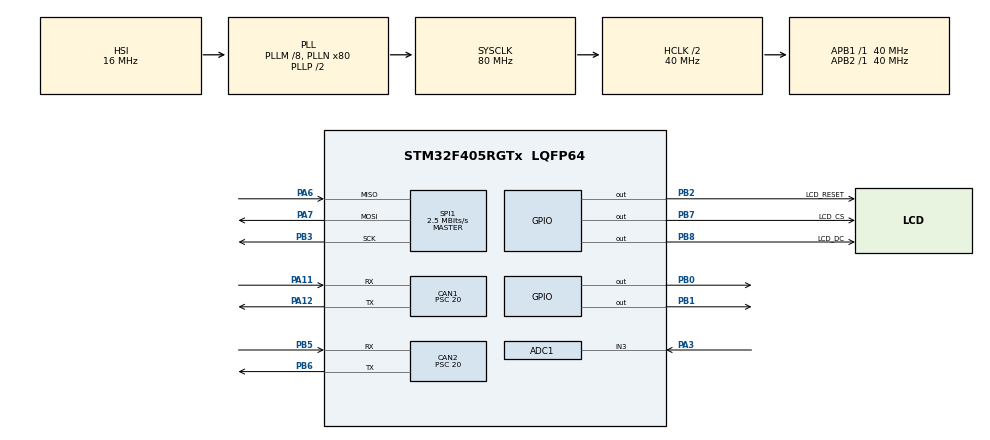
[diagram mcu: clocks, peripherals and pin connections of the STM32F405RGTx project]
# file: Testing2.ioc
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ADC1.Channel-0\#ChannelRegularConversion=ADC_CHANNEL_3
ADC1.ContinuousConvMode=DISABLE
ADC1.NbrOfConversionFlag=1
ADC1.Rank-0\#ChannelRegularConversion=1
ADC1.SamplingTime-0\#ChannelRegularConversion=ADC_SAMPLETIME_3CYCLES
ADC1.master=1
CAN1.BS1=CAN_BS1_2TQ
CAN1.CalculateBaudRate=500000
CAN1.CalculateTimeBit=2000
CAN1.CalculateTimeQuantum=500.0
CAN1.Prescaler=20
CAN2.BS1=CAN_BS1_2TQ
CAN2.CalculateBaudRate=500000
CAN2.CalculateTimeBit=2000
CAN2.CalculateTimeQuantum=500.0
CAN2.Prescaler=20
Mcu.Family=STM32F4
Mcu.Name=STM32F405RGTx
Mcu.Package=LQFP64
NVIC.CAN1_RX0_IRQn=true\:0\:0\:false\:false\:true\:true\:true\:true
NVIC.CAN2_RX1_IRQn=true\:0\:0\:false\:false\:true\:true\:true\:true
NVIC.PriorityGroup=NVIC_PRIORITYGROUP_4
NVIC.TIM2_IRQn=true\:0\:0\:false\:false\:true\:true\:true\:true
PA11.Mode=CAN_Activate
PA11.Signal=CAN1_RX
PA12.Mode=CAN_Activate
PA12.Signal=CAN1_TX
PA13.Mode=Serial_Wire
PA13.Signal=SYS_JTMS-SWDIO
PA14.Mode=Serial_Wire
PA14.Signal=SYS_JTCK-SWCLK
PA3.Signal=ADCx_IN3
PA6.Mode=Full_Duplex_Master
PA6.Signal=SPI1_MISO
PA7.Mode=Full_Duplex_Master
PA7.Signal=SPI1_MOSI
PB0.Signal=GPIO_Output
PB1.Signal=GPIO_Output
PB2.GPIO_Label=LCD_RESET
PB2.Signal=GPIO_Output
PB3.Mode=Full_Duplex_Master
PB3.Signal=SPI1_SCK
PB5.Mode=CAN_Activate
PB5.Signal=CAN2_RX
PB6.Mode=CAN_Activate
PB6.Signal=CAN2_TX
PB7.GPIO_Label=LCD_CS
PB7.Signal=GPIO_Output
PB8.GPIO_Label=LCD_DC
PB8.Signal=GPIO_Output
PH0-OSC_IN.Mode=HSE-External-Oscillator
PH0-OSC_IN.Signal=RCC_OSC_IN
PH1-OSC_OUT.Mode=HSE-External-Oscillator
PH1-OSC_OUT.Signal=RCC_OSC_OUT
ProjectManager.HeapSize=0x200
ProjectManager.StackSize=0x400
ProjectManager.TargetToolchain=STM32CubeIDE
RCC.48MHZClocksFreq_Value=40000000
RCC.AHBCLKDivider=RCC_SYSCLK_DIV2
RCC.AHBFreq_Value=40000000
RCC.APB1Freq_Value=40000000
RCC.APB1TimFreq_Value=40000000
RCC.APB2Freq_Value=40000000
RCC.APB2TimFreq_Value=40000000
RCC.CortexFreq_Value=40000000
RCC.HCLKFreq_Value=40000000
RCC.HSE_VALUE=25000000
RCC.HSI_VALUE=16000000
RCC.LSE_VALUE=32768
RCC.PLLM=8
RCC.PLLN=80
RCC.SYSCLKFreq_VALUE=80000000
RCC.SYSCLKSource=RCC_SYSCLKSOURCE_PLLCLK
RCC.VCOOutputFreq_Value=160000000
SH.ADCx_IN3.0=ADC1_IN3,IN3
SPI1.BaudRatePrescaler=SPI_BAUDRATEPRESCALER_16
SPI1.CalculateBaudRate=2.5 MBits/s
SPI1.Direction=SPI_DIRECTION_2LINES
SPI1.Mode=SPI_MODE_MASTER
SPI1.VirtualType=VM_MASTER
TIM2.Period=7
TIM2.Prescaler=57142
VP_TIM2_VS_ClockSourceINT.Mode=Internal
board=custom

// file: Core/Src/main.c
/* USER CODE BEGIN Header */
/**
  ******************************************************************************
  * @file           : main.c
  * @brief          : Main program body
  ******************************************************************************
  * @attention
  *
  * Copyright (c) 2023 STMicroelectronics.
  * All rights reserved.
  *
  * This software is licensed under terms that can be found in the LICENSE file
  * in the root directory of this software component.
  * If no LICENSE file comes with this software, it is provided AS-IS.
  *
  ******************************************************************************
  */
/* USER CODE END Header */
#include "main.h"

/* USER CODE BEGIN Includes */
#include <string.h>
#include <stdio.h>
#include "timer.h"
#include "st7789.h"
#include "LCD_display.h"
/* USER CODE END Includes */

/* USER CODE BEGIN PD */
#define SERVICE_ID 0x22
#define DATA1_ID 0xF001
//#define DATA2_ID 0xF002
/* USER CODE END PD */

ADC_HandleTypeDef hadc1;

CAN_HandleTypeDef hcan1;
CAN_HandleTypeDef hcan2;

SPI_HandleTypeDef hspi1;

TIM_HandleTypeDef htim2;

/* USER CODE BEGIN PV */
CAN_RxHeaderTypeDef rx1Header; //CAN1 Bus Transmit Header
CAN_TxHeaderTypeDef tx1Header; //CAN1 Bus Receive Header

CAN_RxHeaderTypeDef rx2Header; //CAN2 Bus Transmit Header
CAN_TxHeaderTypeDef tx2Header; //CAN2 Bus Receive Header

CAN_FilterTypeDef canfil1; //CAN Bus Filter
CAN_FilterTypeDef canfil2; //CAN Bus Filter
uint32_t canMailbox; //CAN Bus Mail box variable

uint8_t Tx1Data[8];
uint8_t Tx2Data[8];

uint8_t Rx1Data[8];
uint8_t Rx2Data[8];

uint32_t ADC_value;
/* USER CODE END PV */

void SystemClock_Config(void);
static void MX_GPIO_Init(void);
static void MX_CAN1_Init(void);
static void MX_CAN2_Init(void);
static void MX_TIM2_Init(void);
static void MX_SPI1_Init(void);
static void MX_ADC1_Init(void);
/* USER CODE BEGIN PFP */
void CAN1_filter_init(){
	canfil1.FilterBank = 10;
	canfil1.FilterMode = CAN_FILTERMODE_IDMASK;
	canfil1.FilterFIFOAssignment = CAN_RX_FIFO0;
	canfil1.FilterIdHigh = 0x7A2 << 5;
	canfil1.FilterIdLow = 0;
	canfil1.FilterMaskIdHigh = 0x7A2 << 5;
	canfil1.FilterMaskIdLow = 0;
	canfil1.FilterScale = CAN_FILTERSCALE_32BIT;
	canfil1.FilterActivation = ENABLE;
	canfil1.SlaveStartFilterBank = 14;
}

void CAN2_filter_init(){
	canfil2.FilterBank = 20;
	canfil2.FilterMode = CAN_FILTERMODE_IDMASK;
	canfil2.FilterFIFOAssignment = CAN_RX_FIFO1;
	canfil2.FilterIdHigh = 0x712 << 5;
	canfil2.FilterIdLow = 0;
	canfil2.FilterMaskIdHigh = 0x712 << 5;
	canfil2.FilterMaskIdLow = 0;
	canfil2.FilterScale = CAN_FILTERSCALE_32BIT;
	canfil2.FilterActivation = ENABLE;
	canfil2.SlaveStartFilterBank = 14;
}

void Tx1_message_define(){
	tx1Header.DLC = 8;
	tx1Header.IDE = CAN_ID_STD;
	tx1Header.RTR = CAN_RTR_DATA;
	tx1Header.StdId = 0x712;
	tx1Header.ExtId = 0x02;
	tx1Header.TransmitGlobalTime = DISABLE;
}

void Tx2_message_define(){
	tx2Header.DLC = 8;
	tx2Header.IDE = CAN_ID_STD;
	tx2Header.RTR = CAN_RTR_DATA;
	tx2Header.StdId = 0x7A2;
	tx2Header.ExtId = 0x02;
	tx2Header.TransmitGlobalTime = DISABLE;
}

//Practice 1 data
#ifdef DATA1_ID

	void Tx1_data(){
		Tx1Data[0] = SERVICE_ID;
		Tx1Data[1] = (DATA1_ID >> 16) & 0xFF;
		Tx1Data[2] = (DATA1_ID >> 8) & 0xFF;
		Tx1Data[3] = DATA1_ID & 0xFF;
	}
#elif DATA2_ID
	void Tx1_data(){
		Tx1Data[0] = SERVICE_ID;
		Tx1Data[1] = (DATA1_ID >> 16) & 0xFF;
		Tx1Data[2] = (DATA1_ID >> 8) & 0xFF;
		Tx1Data[3] = DATA1_ID & 0xFF;
	}
#endif

/* USER CODE END PFP */

int main(void)
{

  /* MCU Configuration--------------------------------------------------------*/

  /* Reset of all peripherals, Initializes the Flash interface and the Systick. */
  HAL_Init();

  /* Configure the system clock */
  SystemClock_Config();

  /* Initialize all configured peripherals */
  MX_GPIO_Init();
  MX_CAN1_Init();
  MX_CAN2_Init();
  MX_TIM2_Init();
  MX_SPI1_Init();
  MX_ADC1_Init();
  /* USER CODE BEGIN 2 */
  CAN1_filter_init();
  CAN2_filter_init();

  Tx1_message_define();
  Tx2_message_define();

  //Tx2_data();
  Tx1_data();

  HAL_TIM_Base_Start_IT(&htim2);

  HAL_CAN_Start(&hcan1);
  HAL_CAN_Start(&hcan2);
  HAL_CAN_ConfigFilter(&hcan1,&canfil1);
  HAL_CAN_ConfigFilter(&hcan2,&canfil2);

  HAL_CAN_ActivateNotification(&hcan1,CAN_IT_RX_FIFO0_MSG_PENDING);
  HAL_CAN_ActivateNotification(&hcan2,CAN_IT_RX_FIFO1_MSG_PENDING);

  lcd_init();
  ST7789_Init();

//  ST7789_WriteString(0, 0, "..............................................", Font_7x10, RED, WHITE);
  	HAL_ADC_Start(&hadc1);
  	HAL_ADC_PollForConversion(&hadc1, 100);
  	ADC_value = HAL_ADC_GetValue(&hadc1);
  	setTimer1(10);
  /* USER CODE END 2 */

  /* Infinite loop */
  /* USER CODE BEGIN WHILE */
  while (1)
  {
	  if(timer1_flag){
		  if(HAL_CAN_AddTxMessage(&hcan2,&tx2Header,Tx2Data,&canMailbox) == HAL_OK){
			  HAL_GPIO_WritePin(GPIOB, GPIO_PIN_1, 1);
		  }
		  setTimer1(100);
	  }
  }

    /* USER CODE END WHILE */

}

void SystemClock_Config(void)
{
  RCC_OscInitTypeDef RCC_OscInitStruct = {0};
  RCC_ClkInitTypeDef RCC_ClkInitStruct = {0};

  /** Configure the main internal regulator output voltage
  */
  __HAL_RCC_PWR_CLK_ENABLE();
  __HAL_PWR_VOLTAGESCALING_CONFIG(PWR_REGULATOR_VOLTAGE_SCALE1);

  /** Initializes the RCC Oscillators according to the specified parameters
  * in the RCC_OscInitTypeDef structure.
  */
  RCC_OscInitStruct.OscillatorType = RCC_OSCILLATORTYPE_HSI;
  RCC_OscInitStruct.HSIState = RCC_HSI_ON;
  RCC_OscInitStruct.HSICalibrationValue = RCC_HSICALIBRATION_DEFAULT;
  RCC_OscInitStruct.PLL.PLLState = RCC_PLL_ON;
  RCC_OscInitStruct.PLL.PLLSource = RCC_PLLSOURCE_HSI;
  RCC_OscInitStruct.PLL.PLLM = 8;
  RCC_OscInitStruct.PLL.PLLN = 80;
  RCC_OscInitStruct.PLL.PLLP = RCC_PLLP_DIV2;
  RCC_OscInitStruct.PLL.PLLQ = 4;
  if (HAL_RCC_OscConfig(&RCC_OscInitStruct) != HAL_OK)
  {
    Error_Handler();
  }

  /** Initializes the CPU, AHB and APB buses clocks
  */
  RCC_ClkInitStruct.ClockType = RCC_CLOCKTYPE_HCLK|RCC_CLOCKTYPE_SYSCLK
                              |RCC_CLOCKTYPE_PCLK1|RCC_CLOCKTYPE_PCLK2;
  RCC_ClkInitStruct.SYSCLKSource = RCC_SYSCLKSOURCE_PLLCLK;
  RCC_ClkInitStruct.AHBCLKDivider = RCC_SYSCLK_DIV2;
  RCC_ClkInitStruct.APB1CLKDivider = RCC_HCLK_DIV1;
  RCC_ClkInitStruct.APB2CLKDivider = RCC_HCLK_DIV1;

  if (HAL_RCC_ClockConfig(&RCC_ClkInitStruct, FLASH_LATENCY_1) != HAL_OK)
  {
    Error_Handler();
  }
}

static void MX_ADC1_Init(void)
{

  ADC_ChannelConfTypeDef sConfig = {0};

  /** Configure the global features of the ADC (Clock, Resolution, Data Alignment and number of conversion)
  */
  hadc1.Instance = ADC1;
  hadc1.Init.ClockPrescaler = ADC_CLOCK_SYNC_PCLK_DIV2;
  hadc1.Init.Resolution = ADC_RESOLUTION_12B;
  hadc1.Init.ScanConvMode = DISABLE;
  hadc1.Init.ContinuousConvMode = DISABLE;
  hadc1.Init.DiscontinuousConvMode = DISABLE;
  hadc1.Init.ExternalTrigConvEdge = ADC_EXTERNALTRIGCONVEDGE_NONE;
  hadc1.Init.ExternalTrigConv = ADC_SOFTWARE_START;
  hadc1.Init.DataAlign = ADC_DATAALIGN_RIGHT;
  hadc1.Init.NbrOfConversion = 1;
  hadc1.Init.DMAContinuousRequests = DISABLE;
  hadc1.Init.EOCSelection = ADC_EOC_SINGLE_CONV;
  if (HAL_ADC_Init(&hadc1) != HAL_OK)
  {
    Error_Handler();
  }

  /** Configure for the selected ADC regular channel its corresponding rank in the sequencer and its sample time.
  */
  sConfig.Channel = ADC_CHANNEL_3;
  sConfig.Rank = 1;
  sConfig.SamplingTime = ADC_SAMPLETIME_3CYCLES;
  if (HAL_ADC_ConfigChannel(&hadc1, &sConfig) != HAL_OK)
  {
    Error_Handler();
  }

}

static void MX_CAN1_Init(void)
{

  hcan1.Instance = CAN1;
  hcan1.Init.Prescaler = 20;
  hcan1.Init.Mode = CAN_MODE_NORMAL;
  hcan1.Init.SyncJumpWidth = CAN_SJW_1TQ;
  hcan1.Init.TimeSeg1 = CAN_BS1_2TQ;
  hcan1.Init.TimeSeg2 = CAN_BS2_1TQ;
  hcan1.Init.TimeTriggeredMode = DISABLE;
  hcan1.Init.AutoBusOff = DISABLE;
  hcan1.Init.AutoWakeUp = DISABLE;
  hcan1.Init.AutoRetransmission = DISABLE;
  hcan1.Init.ReceiveFifoLocked = DISABLE;
  hcan1.Init.TransmitFifoPriority = DISABLE;
  if (HAL_CAN_Init(&hcan1) != HAL_OK)
  {
    Error_Handler();
  }

}

static void MX_CAN2_Init(void)
{

  hcan2.Instance = CAN2;
  hcan2.Init.Prescaler = 20;
  hcan2.Init.Mode = CAN_MODE_NORMAL;
  hcan2.Init.SyncJumpWidth = CAN_SJW_1TQ;
  hcan2.Init.TimeSeg1 = CAN_BS1_2TQ;
  hcan2.Init.TimeSeg2 = CAN_BS2_1TQ;
  hcan2.Init.TimeTriggeredMode = DISABLE;
  hcan2.Init.AutoBusOff = DISABLE;
  hcan2.Init.AutoWakeUp = DISABLE;
  hcan2.Init.AutoRetransmission = DISABLE;
  hcan2.Init.ReceiveFifoLocked = DISABLE;
  hcan2.Init.TransmitFifoPriority = DISABLE;
  if (HAL_CAN_Init(&hcan2) != HAL_OK)
  {
    Error_Handler();
  }

}

static void MX_SPI1_Init(void)
{

  /* SPI1 parameter configuration*/
  hspi1.Instance = SPI1;
  hspi1.Init.Mode = SPI_MODE_MASTER;
  hspi1.Init.Direction = SPI_DIRECTION_2LINES;
  hspi1.Init.DataSize = SPI_DATASIZE_8BIT;
  hspi1.Init.CLKPolarity = SPI_POLARITY_LOW;
  hspi1.Init.CLKPhase = SPI_PHASE_1EDGE;
  hspi1.Init.NSS = SPI_NSS_SOFT;
  hspi1.Init.BaudRatePrescaler = SPI_BAUDRATEPRESCALER_16;
  hspi1.Init.FirstBit = SPI_FIRSTBIT_MSB;
  hspi1.Init.TIMode = SPI_TIMODE_DISABLE;
  hspi1.Init.CRCCalculation = SPI_CRCCALCULATION_DISABLE;
  hspi1.Init.CRCPolynomial = 10;
  if (HAL_SPI_Init(&hspi1) != HAL_OK)
  {
    Error_Handler();
  }

}

static void MX_TIM2_Init(void)
{

  TIM_ClockConfigTypeDef sClockSourceConfig = {0};
  TIM_MasterConfigTypeDef sMasterConfig = {0};

  htim2.Instance = TIM2;
  htim2.Init.Prescaler = 57142;
  htim2.Init.CounterMode = TIM_COUNTERMODE_UP;
  htim2.Init.Period = 7;
  htim2.Init.ClockDivision = TIM_CLOCKDIVISION_DIV1;
  htim2.Init.AutoReloadPreload = TIM_AUTORELOAD_PRELOAD_DISABLE;
  if (HAL_TIM_Base_Init(&htim2) != HAL_OK)
  {
    Error_Handler();
  }
  sClockSourceConfig.ClockSource = TIM_CLOCKSOURCE_INTERNAL;
  if (HAL_TIM_ConfigClockSource(&htim2, &sClockSourceConfig) != HAL_OK)
  {
    Error_Handler();
  }
  sMasterConfig.MasterOutputTrigger = TIM_TRGO_RESET;
  sMasterConfig.MasterSlaveMode = TIM_MASTERSLAVEMODE_DISABLE;
  if (HAL_TIMEx_MasterConfigSynchronization(&htim2, &sMasterConfig) != HAL_OK)
  {
    Error_Handler();
  }

}

static void MX_GPIO_Init(void)
{
  GPIO_InitTypeDef GPIO_InitStruct = {0};

  /* GPIO Ports Clock Enable */
  __HAL_RCC_GPIOH_CLK_ENABLE();
  __HAL_RCC_GPIOA_CLK_ENABLE();
  __HAL_RCC_GPIOB_CLK_ENABLE();

  /*Configure GPIO pin Output Level */
  HAL_GPIO_WritePin(GPIOB, GPIO_PIN_0|GPIO_PIN_1|LCD_RESET_Pin|LCD_CS_Pin
                          |LCD_DC_Pin, GPIO_PIN_RESET);

  /*Configure GPIO pins : PB0 PB1 LCD_RESET_Pin LCD_CS_Pin
                           LCD_DC_Pin */
  GPIO_InitStruct.Pin = GPIO_PIN_0|GPIO_PIN_1|LCD_RESET_Pin|LCD_CS_Pin
                          |LCD_DC_Pin;
  GPIO_InitStruct.Mode = GPIO_MODE_OUTPUT_PP;
  GPIO_InitStruct.Pull = GPIO_NOPULL;
  GPIO_InitStruct.Speed = GPIO_SPEED_FREQ_LOW;
  HAL_GPIO_Init(GPIOB, &GPIO_InitStruct);

}

/* USER CODE BEGIN 4 */
uint8_t Buffer[20];
uint8_t Buffer1[20];
uint8_t Buffer2[20];
uint8_t Buffer3[20];
uint8_t Buffer4[20];
uint8_t Buffer5[20];
uint8_t Buffer6[20];
uint8_t Buffer7[20];
uint8_t Buffer8[20];
uint8_t Buffer9[20];
uint8_t Buffer10[20];
uint8_t Buffer11[20];
uint8_t Buffer12[20];
uint8_t Buffer13[20];

void HAL_TIM_PeriodElapsedCallback(TIM_HandleTypeDef *htim){
	timerRun();
	//getKeyInput();
}

void HAL_CAN_RxFifo0MsgPendingCallback(CAN_HandleTypeDef *hcan)
{
	if(HAL_CAN_GetRxMessage(&hcan1, CAN_RX_FIFO0, &rx1Header, Rx1Data) == HAL_OK){
		if(rx1Header.DLC == 8){
			sprintf(&Buffer[0], "IDCAN2:0x%03x", rx1Header.StdId);
			sprintf(&Buffer1[0], "Data0:0x%02x", Rx1Data[0]);
			sprintf(&Buffer2[0], "Data1:0x%02x", Rx1Data[1]);
			sprintf(&Buffer8[0], "Data2:0x%02x", Rx1Data[2]);
			sprintf(&Buffer9[0], "Data3:0x%02x", Rx1Data[3]);
			sprintf(&Buffer10[0], "Data4:0x%02x", Rx1Data[4]);
			sprintf(&Buffer11[0], "Data5:0x%02x", Rx1Data[5]);
			sprintf(&Buffer12[0], "Data6:0x%02x", Rx1Data[6]);
			sprintf(&Buffer13[0], "Data7:0x%02x", Rx1Data[7]);

			ST7789_WriteString(0, 0,&Buffer[0], Font_7x10, RED, WHITE);
			ST7789_WriteString(0, 11, &Buffer1[0], Font_7x10, RED, WHITE);
			ST7789_WriteString(0, 22, &Buffer2[0], Font_7x10, RED, WHITE);
			ST7789_WriteString(0, 33, &Buffer8[0], Font_7x10, RED, WHITE);
			ST7789_WriteString(0, 44, &Buffer9[0], Font_7x10, RED, WHITE);
			ST7789_WriteString(0, 55, &Buffer10[0], Font_7x10, RED, WHITE);
			ST7789_WriteString(0, 66, &Buffer11[0], Font_7x10, RED, WHITE);
			ST7789_WriteString(0, 77, &Buffer12[0], Font_7x10, RED, WHITE);
			ST7789_WriteString(0, 88, &Buffer13[0], Font_7x10, RED, WHITE);
			if(HAL_CAN_AddTxMessage(&hcan1,&tx1Header,Tx1Data,&canMailbox) == HAL_OK){
				HAL_GPIO_WritePin(GPIOB, GPIO_PIN_0, 1);
			}
		}
	}

}

void HAL_CAN_RxFifo1MsgPendingCallback(CAN_HandleTypeDef *hcan)
{
	if(HAL_CAN_GetRxMessage(&hcan2, CAN_RX_FIFO1, &rx2Header, Rx2Data) == HAL_OK){
		if(rx2Header.DLC == 8){
			sprintf(&Buffer3[0], "IDCAN1:0x%03x", rx2Header.StdId);
			sprintf(&Buffer4[0], "Data0:0x%02x", Rx2Data[0]);
			sprintf(&Buffer5[0], "Data1:0x%02x", Rx2Data[1]);
			sprintf(&Buffer6[0], "Data2:0x%02x", Rx2Data[2]);
			sprintf(&Buffer7[0], "Data3:0x%02x", Rx2Data[3]);

			ST7789_WriteString(0, 99, &Buffer3[0], Font_7x10, RED, WHITE);
			ST7789_WriteString(0, 110, &Buffer4[0], Font_7x10, RED, WHITE);
			ST7789_WriteString(0, 121, &Buffer5[0], Font_7x10, RED, WHITE);
			ST7789_WriteString(0, 132, &Buffer6[0], Font_7x10, RED, WHITE);
			ST7789_WriteString(0, 143, &Buffer7[0], Font_7x10, RED, WHITE);
#ifdef DATA1_ID
			Tx2Data[0] = Rx2Data[0] + 0x40;
			Tx2Data[1] = Rx2Data[1];
			Tx2Data[2] = Rx2Data[2];
			Tx2Data[3] = Rx2Data[3];
			Tx2Data[4] = (ADC_value >> 24) & 0xFF;
			Tx2Data[5] = (ADC_value >> 16) & 0xFF;
			Tx2Data[6] = (ADC_value >> 8) & 0xFF;
			Tx2Data[7] = ADC_value & 0xFF;
#endif
			if(HAL_CAN_AddTxMessage(&hcan2,&tx2Header,Tx2Data,&canMailbox) == HAL_OK){
				HAL_GPIO_WritePin(GPIOB, GPIO_PIN_0, 1);
			}
		}
	}

}
/* USER CODE END 4 */

void Error_Handler(void)
{
  __disable_irq();
  while (1)
  {
  }
}
